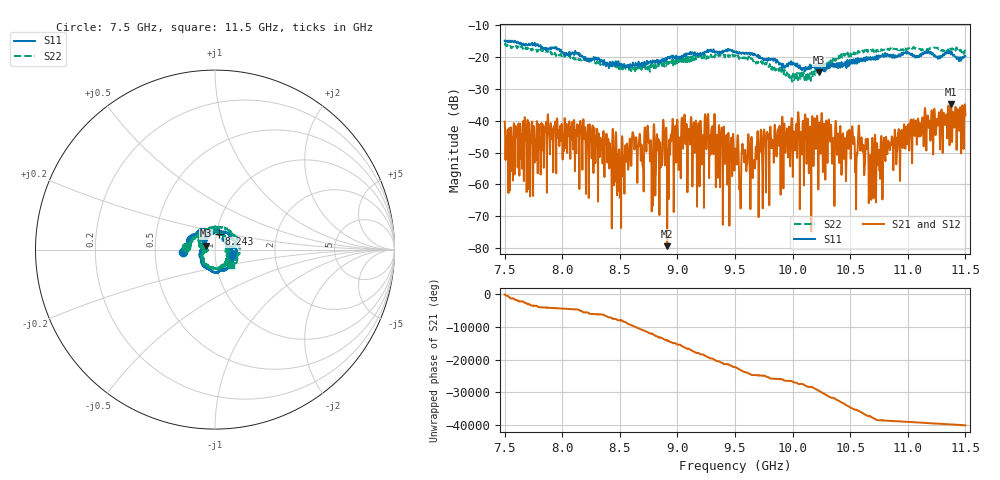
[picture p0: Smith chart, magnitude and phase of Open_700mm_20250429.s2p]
#  HZ  S  DB  R  50.00
! Rohde & Schwarz ZVA40 2Ports - Version 4.11 - 1145.1110k40 SN: 100216
! Date: 2025-04-29 18:28:52
! Measurements: S11 S21 S12 S22
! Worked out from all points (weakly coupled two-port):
!   5001 points, 7.5 GHz to 11.5 GHz, reference 50 ohm
!   highest |S21| = -34.78 dB at 11.37 GHz (marker M1); lowest = -79.3 dB at 8.911 GHz (marker M2)
!   lowest |S11| = -24.9 dB at 10.23 GHz (marker M3), VSWR 1.12, Z = 45 + j2 ohm
!   |S11| at or under -10 dB: start of sweep to end of sweep
!   |S22| runs from -27.8 to -15.8 dB; largest |S21 - S12| = 0.00015
!   S11 on the Smith chart (normalised r, x): 7.5 GHz: 0.70, -0.02; 8.243 GHz: 1.03, +0.18; 11.5 GHz: 1.21, -0.07
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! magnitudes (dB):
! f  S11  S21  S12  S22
! 7.5 GHz  -14.9  -40.3  -40.3  -15.8
! 7.553 GHz  -15.2  -42.2  -42.2  -16.8
! 8.167 GHz  -19.7  -42.8  -42.8  -21.1
! 8.243 GHz  -21.1  -42.6  -42.6  -21.5
! 8.493 GHz  -22.5  -49.1  -49.1  -23.8
! 8.625 GHz  -22.7  -47.4  -47.4  -23.1
! 8.834 GHz  -22.0  -47.3  -47.2  -23.7
! 8.889 GHz  -20.7  -50.3  -50.2  -23.0
! 8.911 GHz  -20.3  -79.3  -79.4  -22.4
! 9.052 GHz  -19.9  -45.4  -45.4  -21.5
! 9.253 GHz  -18.6  -48.2  -48.2  -20.4
! 9.5 GHz  -18.6  -49.8  -49.7  -19.6
! 9.552 GHz  -18.9  -59.2  -59.2  -20.2
! 9.793 GHz  -20.4  -45.3  -45.2  -23.2
! 10.17 GHz  -22.7  -41.5  -41.5  -24.7
! 10.23 GHz  -24.9  -40.8  -40.7  -24.8
! 10.55 GHz  -20.7  -52.4  -52.4  -18.7
! 10.59 GHz  -20.6  -49.4  -49.4  -18.3
! 10.68 GHz  -20.9  -63.3  -63.3  -17.9
! 10.83 GHz  -19.6  -46.8  -46.7  -17.8
! 11.37 GHz  -19.2  -34.8  -34.8  -17.8
! 11.5 GHz  -19.8  -38.4  -38.4  -18.5
